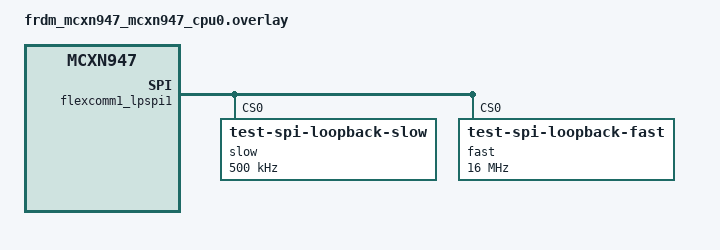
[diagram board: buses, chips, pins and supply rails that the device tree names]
/*
 * Copyright 2024 NXP
 *
 * SPDX-License-Identifier: Apache-2.0
 */

&flexcomm1_lpspi1 {

	transfer-delay = <100>;
	sck-pcs-delay = <200>;
	pcs-sck-delay = <200>;

	slow@0 {
		compatible = "test-spi-loopback-slow";
		reg = <0>;
		spi-max-frequency = <500000>;
	};

	fast@0 {
		compatible = "test-spi-loopback-fast";
		reg = <0>;
		spi-max-frequency = <16000000>;
	};
};

&flexcomm1 {
	interrupts = <36 1>;
};
